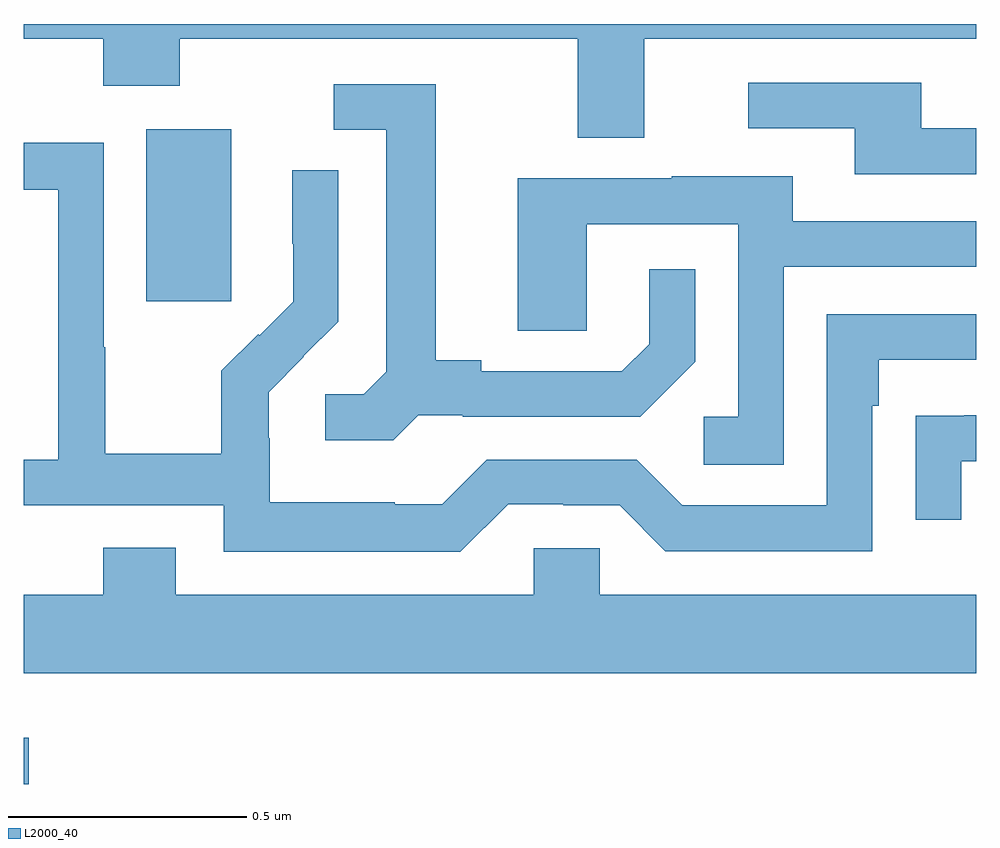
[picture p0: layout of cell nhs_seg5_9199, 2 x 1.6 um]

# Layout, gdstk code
import gdstk
lib = gdstk.Library(unit=1e-6, precision=1e-09)
def R(c, l, rs):  # rectangles x0, y0, x1, y1
    for r in rs: c.add(gdstk.rectangle(r[:2], r[2:], *l))
def P(c, l, *ps):  # polygons
    for p in ps: c.add(gdstk.Polygon(p, *l))
L2000_40 = (2000, 40)

nhs_seg5_9199 = lib.new_cell('nhs_seg5_9199')
R(nhs_seg5_9199, L2000_40, [(231,847.203,231.01,847.3), (231.257,848.217,231.436,848.578)])
P(nhs_seg5_9199, L2000_40, [(232.303,848.768),(233,848.768),(233,848.799),(231,848.799),(231,848.768),(231.167,848.768),(231.167,848.669),(231.327,848.669),(231.327,848.768),(232.163,848.768),(232.163,848.56),(232.303,848.56)],
  [(233,848.58),(232.885,848.58),(232.885,848.676),(232.521,848.676),(232.521,848.58),(232.745,848.58),(232.745,848.484),(233,848.484)],
  [(231.828,847.977),(231.922,847.977),(231.922,847.974),(232.294,847.974),(232.41,848.09),(232.41,848.284),(232.313,848.284),(232.313,848.127),(232.256,848.07),(231.961,848.07),(231.961,848.093),(231.865,848.093),(231.865,848.673),(231.651,848.673),(231.651,848.577),(231.761,848.577),(231.761,848.069),(231.714,848.022),(231.633,848.022),(231.633,847.925),(231.776,847.925)],
  [(232.017,847.791),(232.133,847.791),(232.133,847.788),(232.251,847.788),(232.347,847.692),(232.782,847.692),(232.782,847.997),(232.795,847.997),(232.795,848.094),(233,848.094),(233,848.19),(232.686,848.19),(232.686,847.788),(232.383,847.788),(232.287,847.884),(231.972,847.884),(231.879,847.791),(231.779,847.791),(231.779,847.795),(231.516,847.795),(231.516,847.929),(231.514,847.929),(231.514,848.026),(231.588,848.1),(231.587,848.101),(231.66,848.174),(231.66,848.492),(231.564,848.492),(231.564,848.338),(231.566,848.338),(231.566,848.216),(231.495,848.145),(231.492,848.148),(231.415,848.071),(231.415,847.897),(231.171,847.897),(231.171,848.12),(231.168,848.12),(231.168,848.55),(231,848.55),(231,848.451),(231.072,848.451),(231.072,847.884),(231,847.884),(231,847.788),(231.42,847.788),(231.42,847.691),(231.917,847.691)],
  [(232.596,848.289),(233,848.289),(233,848.385),(232.615,848.385),(232.615,848.479),(232.361,848.479),(232.361,848.475),(232.037,848.475),(232.037,848.155),(232.182,848.155),(232.182,848.379),(232.5,848.379),(232.5,847.974),(232.428,847.974),(232.428,847.873),(232.596,847.873)],
  [(232.969,847.881),(233,847.881),(233,847.977),(232.975,847.977),(232.975,847.976),(232.873,847.976),(232.873,847.758),(232.969,847.758)],
  [(233,847.6),(232.209,847.6),(232.209,847.698),(232.071,847.698),(232.071,847.6),(231.319,847.6),(231.319,847.699),(231.167,847.699),(231.167,847.6),(231,847.6),(231,847.436),(233,847.436)])

lib.write_gds('nhs_seg5_9199.gds')
